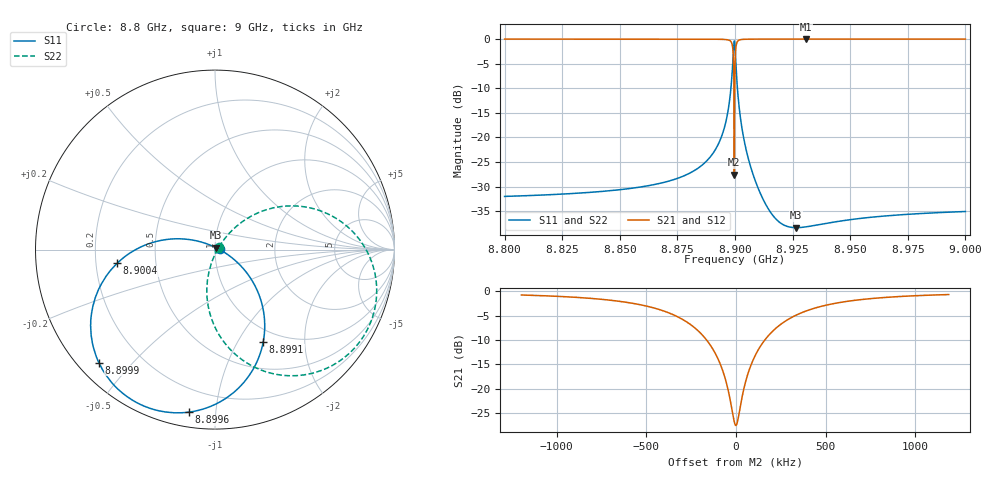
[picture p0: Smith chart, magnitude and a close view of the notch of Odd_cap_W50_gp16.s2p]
! Sonnet Data File
! From: emgraph Version : 16.52
! From Project: Resonator2_cp
! Data is De-embedded
! Data File Written: 10/07/2017 20:46:09
!< HDATE 10/07/2017 17:10:37
!< MDATE 10/07/2017 17:10:37
!< PARAMS
!< gap = 16.0
!< Length = 400.0
!< Pwid1 = 2000.0
!< Pwid2 = 2000.0
!< Air_gap = 30.0
!< Width = 50.0
!< END PARAMS
# GHZ S MA R 47.50000
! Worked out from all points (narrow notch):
!   1595 points, 8.8 GHz to 9 GHz, reference 47.5 ohm
!   highest |S21| = 0.00 dB at 8.9308 GHz (marker M1); lowest = -27.6 dB at 8.8997 GHz (marker M2)
!   notch at M2: 27.6 dB deep, 201 kHz wide at half that depth
!   lowest |S11| = -38.3 dB at 8.9266 GHz (marker M3), VSWR 1.02, Z = 48 + j1.04 ohm
!   |S11| at or under -10 dB: start of sweep to 8.8982 GHz; 8.901 GHz to end of sweep
!   |S22| runs from -38.3 to -0.4 dB; largest |S21 - S12| = 0
!   S11 on the Smith chart (normalised r, x): 8.8 GHz: 1.05, +0.00; 8.8991 GHz: 0.83, -1.29; 8.8996 GHz: 0.07, -0.85; 8.8999 GHz: 0.06, -0.40; 8.9004 GHz: 0.29, -0.06; 9 GHz: 1.03, +0.01
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8.8  0.02516 2.2  0.9997 -72.7  0.9997 -72.7  0.02517 32.4
!< P1 F=8.8 Eeff=(5.02890353 -2.1766e-5) Z0=(47.410578 1.04358e-4) R=0.0 C=0.0
!< P2 F=8.8 Eeff=(5.02890353 -2.1766e-5) Z0=(47.410578 1.04358e-4) R=0.0 C=0.0
8.8334  0.0273 -0.6  0.9996 -73.1  0.9996 -73.1  0.0273 34.4
8.8668  0.03392 -6.8  0.9994 -73.8  0.9994 -73.8  0.03392 39.2
8.8912  0.07345 -20.9  0.9972 -76.3  0.9972 -76.3  0.0735 48.0
8.8974  0.2155 -35.9  0.9747 -84.7  0.9747 -84.7  0.2157 45.7
8.89905  0.5804 -62.4  0.7968 -107.7  0.7968 -107.7  0.5809 23.5
8.899563  0.9174 -99.2  0.2911 -137.7  0.2911 -137.7  0.9184 -11.8
8.899641  0.9485 -108.0  0.146 -137.8  0.146 -137.8  0.9495 -20.4
8.899711  0.9577 -116.2  0.04179 -72.0  0.04179 -72.0  0.9587 -28.3
8.899802  0.9414 -126.8  0.1869 -5.5  0.1869 -5.5  0.9424 -38.7
8.899883  0.9028 -135.8  0.3345 -8.5  0.3345 -8.5  0.9038 -47.5
8.9  0.8224 -147.3  0.5125 -17.1  0.5125 -17.1  0.8233 -58.6
8.900391  0.5505 -172.0  0.8178 -38.9  0.8178 -38.9  0.5511 -82.1
8.901217  0.2816 168.6  0.9554 -55.9  0.9554 -55.9  0.2819 -98.8
8.903  0.1249 155.8  0.9913 -65.1  0.9913 -65.1  0.1251 -105.3
8.908667  0.03701 136.8  0.9992 -70.3  0.9992 -70.3  0.03709 -97.1
8.917  0.01552 103.0  0.9998 -71.8  0.9998 -71.8  0.01557 -66.5
8.9266  0.01212 63.6  0.9999 -72.5  0.9999 -72.5  0.01214 -28.6
8.9308  0.01235 52.4  0.9999 -72.6  0.9999 -72.6  0.01236 -17.7
8.9334  0.01262 47.1  0.9999 -72.7  0.9999 -72.7  0.01264 -12.6
8.9668  0.01605 21.7  0.9999 -73.4  0.9999 -73.4  0.01605 11.5
9  0.01768 15.5  0.9998 -73.8  0.9998 -73.8  0.01768 16.8
